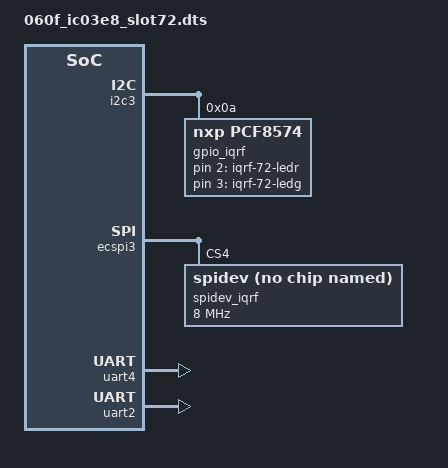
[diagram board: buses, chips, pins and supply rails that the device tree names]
/dts-v1/;


/plugin/;

/ {
	fragment@0 {
		target = <&i2c3>;
		__overlay__ {
			#address-cells = <1>;
			#size-cells = <0>;
			gpio_iqrf: pca9501@10 {
				compatible = "nxp,pcf8574";
				gpio-controller;
				#gpio-cells = <2>;
				reg = <10>;
				gpio-line-names = "SLOT72_IQRF_BTN",
					"SLOT72_IQRF_UART_EN",
					"SLOT72_IQRF_GW_LEDR",
					"SLOT72_IQRF_GW_LEDG",
					"SLOT72_IQRF_SPI_EN",
					"SLOT72_IQRF_I2C_EN",
					"SLOT72_IQRF_SPI_PGM_EN",
					"SLOT72_IQRF_TR_PWR_EN";
			};
		};
	};

	fragment@1 {
		target = <&ecspi3>;
		__overlay__ {
			status = "okay";
			#address-cells = <1>;
			#size-cells = <0>;

			spidev_iqrf: spi@4 {
				compatible = "rohm,dh2228fv";
				reg = <4>;
				status = "okay";
				spi-max-frequency = <8000000>;
			};
		};
	};

	fragment@2 {
		
		target = <&uart4>;
		__overlay__ {
			status = "okay";
		};

	};

	fragment@3 {
		
		target = <&uart2>;
		__overlay__ {
			status = "okay";
		};

	};

	fragment@4 {
		target-path = "/";
		__overlay__ {
			led_slot72 {
				compatible = "gpio-leds";
				iqrf-led@1 {
					label = "iqrf-72-ledr";
					gpios = <&gpio_iqrf 2 0>;
					default-state = "off";
					color = <1>;
				};
				iqrf-led@2 {
					label = "iqrf-72-ledg";
					gpios = <&gpio_iqrf 3 0>;
					default-state = "off";
					color = <2>;
				};
			};
		}; 
	};
};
